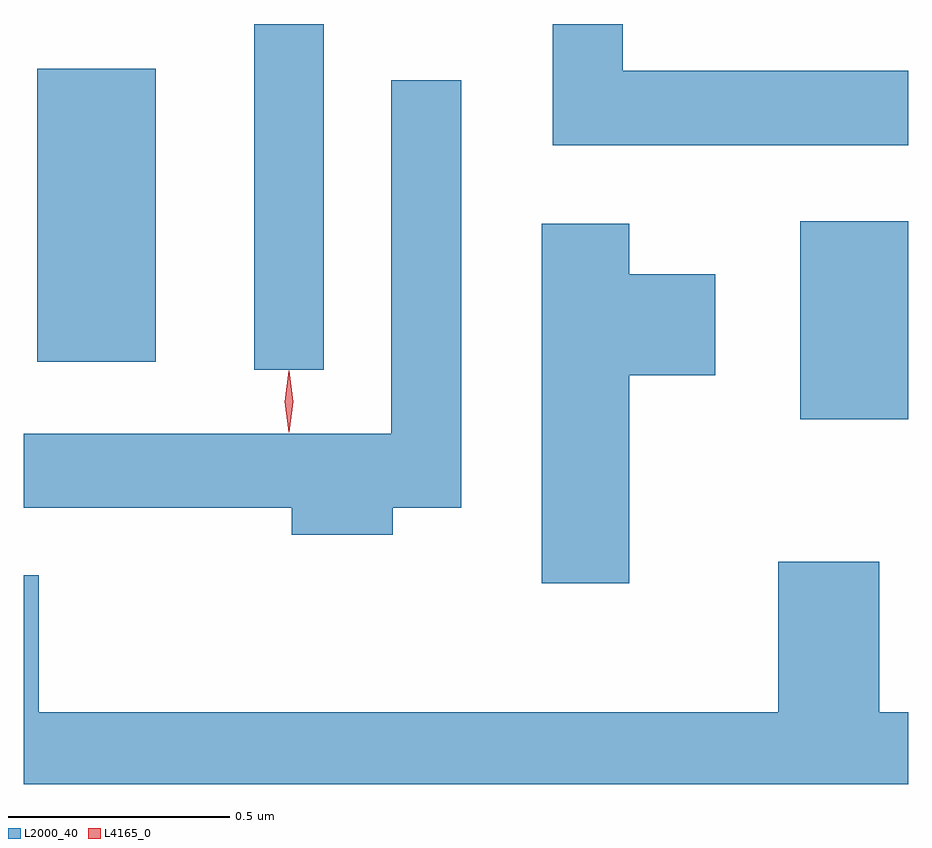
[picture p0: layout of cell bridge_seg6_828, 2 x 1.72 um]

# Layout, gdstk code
import gdstk
lib = gdstk.Library(unit=1e-6, precision=1e-09)
def R(c, l, rs):  # rectangles x0, y0, x1, y1
    for r in rs: c.add(gdstk.rectangle(r[:2], r[2:], *l))
def P(c, l, *ps):  # polygons
    for p in ps: c.add(gdstk.Polygon(p, *l))
L2000_40 = (2000, 40)
L4165_0 = (4165, 0)

bridge_seg6_828 = lib.new_cell('bridge_seg6_828')
R(bridge_seg6_828, L2000_40, [(485.981,1530.986,486.225,1531.434), (484.746,1531.098,484.904,1531.88), (484.256,1531.116,484.524,1531.779)])
P(bridge_seg6_828, L2000_40, [(486.225,1531.774),(485.579,1531.774),(485.579,1531.88),(485.421,1531.88),(485.421,1531.606),(486.225,1531.606)],
  [(485.059,1530.786),(485.214,1530.786),(485.214,1531.753),(485.056,1531.753),(485.056,1530.954),(484.225,1530.954),(484.225,1530.786),(484.831,1530.786),(484.831,1530.726),(485.059,1530.726)],
  [(485.594,1531.086),(485.789,1531.086),(485.789,1531.314),(485.594,1531.314),(485.594,1531.429),(485.396,1531.429),(485.396,1530.616),(485.594,1530.616)],
  [(486.225,1530.324),(486.159,1530.324),(486.159,1530.664),(485.931,1530.664),(485.931,1530.324),(484.259,1530.324),(484.259,1530.634),(484.225,1530.634),(484.225,1530.162),(486.225,1530.162)])
P(bridge_seg6_828, L4165_0, [(484.826,1530.959),(484.825,1530.96),(484.815,1531.026),(484.825,1531.092),(484.825,1531.093),(484.826,1531.092),(484.835,1531.026),(484.826,1530.96)],
  [(484.824,1530.957),(484.815,1531.026),(484.824,1531.096),(484.825,1531.096),(484.825,1531.096),(484.835,1531.026),(484.825,1530.957),(484.825,1530.957)])

lib.write_gds('bridge_seg6_828.gds')
